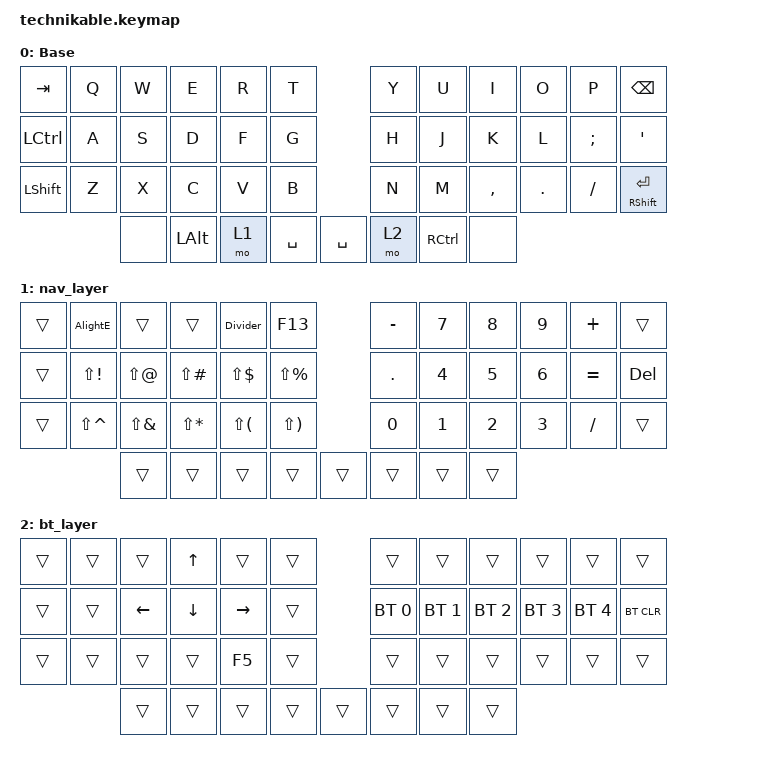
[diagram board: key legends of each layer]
/*
 * Copyright (c) 2022 Pete Johanson
 *
 * SPDX-License-Identifier: MIT
 */

#include <behaviors.dtsi>
#include <dt-bindings/zmk/bt.h>
#include <dt-bindings/zmk/keys.h>

#define BAS_L 0
#define NAV_L 1
#define NUM_L 2
#define SYM_L 3

// Using layer taps on thumbs, having quick tap as well helps w/ repeating space/backspace

&lt { quick_tap_ms = <200>; };

/ {
    chosen { zmk,matrix_transform = &ortho_transform; };

    conditional_layers {
        compatible = "zmk,conditional-layers";

        tri_layer {
            if-layers = <1 1>;
            then-layer = <3>;
        };
    };

    macros {
        Divider: Divider {
            compatible = "zmk,behavior-macro";
            #binding-cells = <0>;
            bindings = <&kp MINUS &kp MINUS &kp MINUS &kp MINUS &kp MINUS &kp MINUS &kp MINUS &kp MINUS &kp MINUS &kp MINUS>;
            label = "DIVIDER";
        };

        AlightE: AlightE {
            compatible = "zmk,behavior-macro";
            #binding-cells = <0>;
            bindings = <&none &kp D &kp A &kp V &kp I &kp D &kp DOT &kp T &kp E &kp A &kp N &kp O &kp AT &kp A &kp L &kp I &kp G &kp H &kp T &kp DOT &kp C &kp O &kp M>;
            label = "ALIGHTE";
        };
    };

    keymap {
        compatible = "zmk,keymap";

        base_layer {
            label = "Base";
            bindings = <
&kp TAB    &kp Q  &kp W  &kp E     &kp R  &kp T                 &kp Y  &kp U      &kp I      &kp O    &kp P     &kp BSPC
&kp LCTRL  &kp A  &kp S  &kp D     &kp F  &kp G                 &kp H  &kp J      &kp K      &kp L    &kp SEMI  &kp SQT
&kp LSHFT  &kp Z  &kp X  &kp C     &kp V  &kp B                 &kp N  &kp M      &kp COMMA  &kp DOT  &kp FSLH  &mt RSHIFT ENTER
                  &none  &kp LALT  &mo 1  &kp SPACE  &kp SPACE  &mo 2  &kp RCTRL  &none
            >;
        };

        nav_layer {
            bindings = <
&trans  &AlightE       &trans        &trans         &Divider      &kp F13                &kp MINUS  &kp N7  &kp N8  &kp N9  &kp PLUS   &trans
&trans  &kp LS(EXCL)   &kp LS(AT)    &kp LS(POUND)  &kp LS(DLLR)  &kp LS(PRCNT)          &kp DOT    &kp N4  &kp N5  &kp N6  &kp EQUAL  &kp DEL
&trans  &kp LS(CARET)  &kp LS(AMPS)  &kp LS(STAR)   &kp LS(LPAR)  &kp LS(RPAR)           &kp N0     &kp N1  &kp N2  &kp N3  &kp FSLH   &trans
                       &trans        &trans         &trans        &trans         &trans  &trans     &trans  &trans
            >;
        };

        bt_layer {
            bindings = <
&trans  &trans  &trans    &kp UP    &trans     &trans          &trans        &trans        &trans        &trans        &trans        &trans
&trans  &trans  &kp LEFT  &kp DOWN  &kp RIGHT  &trans          &bt BT_SEL 0  &bt BT_SEL 1  &bt BT_SEL 2  &bt BT_SEL 3  &bt BT_SEL 4  &bt BT_CLR
&trans  &trans  &trans    &trans    &kp F5     &trans          &trans        &trans        &trans        &trans        &trans        &trans
                &trans    &trans    &trans     &trans  &trans  &trans        &trans        &trans
            >;
        };
    };
};
